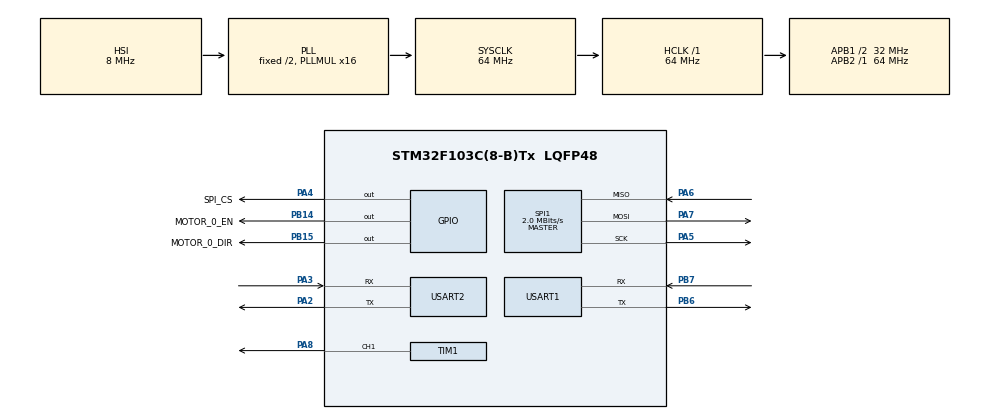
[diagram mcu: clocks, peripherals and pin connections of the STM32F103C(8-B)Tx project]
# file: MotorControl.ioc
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Mcu.Family=STM32F1
Mcu.Name=STM32F103C(8-B)Tx
Mcu.Package=LQFP48
NVIC.PriorityGroup=NVIC_PRIORITYGROUP_4
NVIC.TIM2_IRQn=true\:0\:0\:false\:false\:true\:true\:true
NVIC.USART1_IRQn=true\:0\:0\:false\:false\:true\:true\:true
PA13.Mode=Serial_Wire
PA13.Signal=SYS_JTMS-SWDIO
PA14.Mode=Serial_Wire
PA14.Signal=SYS_JTCK-SWCLK
PA2.Mode=Asynchronous
PA2.Signal=USART2_TX
PA3.Mode=Asynchronous
PA3.Signal=USART2_RX
PA4.GPIO_Label=SPI_CS
PA4.GPIO_Speed=GPIO_SPEED_FREQ_HIGH
PA4.PinState=GPIO_PIN_SET
PA4.Signal=GPIO_Output
PA5.Mode=Full_Duplex_Master
PA5.Signal=SPI1_SCK
PA6.Mode=Full_Duplex_Master
PA6.Signal=SPI1_MISO
PA7.Mode=Full_Duplex_Master
PA7.Signal=SPI1_MOSI
PA8.Signal=S_TIM1_CH1
PB14.GPIO_Label=MOTOR_0_EN
PB14.Signal=GPIO_Output
PB15.GPIO_Label=MOTOR_0_DIR
PB15.Signal=GPIO_Output
PB6.Mode=Asynchronous
PB6.Signal=USART1_TX
PB7.Mode=Asynchronous
PB7.Signal=USART1_RX
PC14-OSC32_IN.Mode=LSE-External-Oscillator
PC14-OSC32_IN.Signal=RCC_OSC32_IN
PC15-OSC32_OUT.Mode=LSE-External-Oscillator
PC15-OSC32_OUT.Signal=RCC_OSC32_OUT
PD0-OSC_IN.Mode=HSE-External-Oscillator
PD0-OSC_IN.Signal=RCC_OSC_IN
PD1-OSC_OUT.Mode=HSE-External-Oscillator
PD1-OSC_OUT.Signal=RCC_OSC_OUT
ProjectManager.HeapSize=0x200
ProjectManager.StackSize=0x400
ProjectManager.TargetToolchain=STM32CubeIDE
RCC.AHBFreq_Value=64000000
RCC.APB1CLKDivider=RCC_HCLK_DIV2
RCC.APB1Freq_Value=32000000
RCC.APB1TimFreq_Value=64000000
RCC.APB2Freq_Value=64000000
RCC.APB2TimFreq_Value=64000000
RCC.HCLKFreq_Value=64000000
RCC.PLLMUL=RCC_PLL_MUL16
RCC.SYSCLKFreq_VALUE=64000000
RCC.SYSCLKSource=RCC_SYSCLKSOURCE_PLLCLK
RCC.USBFreq_Value=64000000
SH.S_TIM1_CH1.0=TIM1_CH1,PWM Generation1 CH1
SPI1.BaudRatePrescaler=SPI_BAUDRATEPRESCALER_32
SPI1.CLKPhase=SPI_PHASE_2EDGE
SPI1.CalculateBaudRate=2.0 MBits/s
SPI1.DataSize=SPI_DATASIZE_16BIT
SPI1.Direction=SPI_DIRECTION_2LINES
SPI1.Mode=SPI_MODE_MASTER
SPI1.VirtualType=VM_MASTER
TIM1.Channel-PWM\ Generation1\ CH1=TIM_CHANNEL_1
TIM1.Prescaler=64
TIM2.Period=100
TIM2.Prescaler=64000
USART1.VirtualMode=VM_ASYNC
USART2.VirtualMode=VM_ASYNC
VP_TIM1_VS_ClockSourceINT.Mode=Internal
VP_TIM2_VS_ClockSourceINT.Mode=Internal
board=custom

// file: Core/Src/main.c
/* USER CODE BEGIN Header */
/**
  ******************************************************************************
  * @file           : main.c
  * @brief          : Main program body
  ******************************************************************************
  * @attention
  *
  * Copyright (c) 2022 STMicroelectronics.
  * All rights reserved.
  *
  * This software is licensed under terms that can be found in the LICENSE file
  * in the root directory of this software component.
  * If no LICENSE file comes with this software, it is provided AS-IS.
  *
  ******************************************************************************
  */
/* USER CODE END Header */
#include "main.h"
#include "spi.h"
#include "tim.h"
#include "usart.h"
#include "gpio.h"

/* USER CODE BEGIN Includes */
#include <stdbool.h>
#include <stdio.h>

#include "PwmDriver.h"
#include "GpioDriver.h"
#include "MotorDriver.h"
#include "MotorController.h"
#include "ComProtocol.h"
#include "As5048aDriver.h"
/* USER CODE END Includes */

/* USER CODE BEGIN PV */

PwmDriver pwmDriver;
GpioDriver gpioDriverEn;
GpioDriver gpioDriverDir;
GpioDriver gpioDriverSpiCs;

MotorDriver motorDriver;
As5048aDriver as5048aDriver;

MotorController motorController;

ComProtocolParser comProtocolParser;

// 中断 flag
bool motor_control_flag = false;
bool tx_send_flag = false;
bool interrupt_flag_10Hz = false;

uint8_t rx_buffer[1];
uint8_t spi_buffer[2];
/* USER CODE END PV */

void SystemClock_Config(void);
/* USER CODE BEGIN PFP */
void init_all(void);
/* USER CODE END PFP */

/* USER CODE BEGIN 0 */
void init_all(void) {
  PwmDriver_init(&pwmDriver, 64, &htim1, TIM_CHANNEL_1, 64, 65535);
  GpioDriver_init(&gpioDriverDir, MOTOR_0_DIR_GPIO_Port, MOTOR_0_DIR_Pin);
  GpioDriver_init(&gpioDriverEn, MOTOR_0_EN_GPIO_Port, MOTOR_0_EN_Pin);
  GpioDriver_init(&gpioDriverSpiCs, SPI_CS_GPIO_Port, SPI_CS_Pin);

  MotorDriver_init(&motorDriver, &pwmDriver, &gpioDriverEn, &gpioDriverDir);

  As5048aDriver_init(&as5048aDriver, &hspi1, gpioDriverSpiCs);

  MotorController_init(&motorController, &motorDriver, 10, 2);
}
/* USER CODE END 0 */

int main(void) {

  /* MCU Configuration--------------------------------------------------------*/

  /* Reset of all peripherals, Initializes the Flash interface and the Systick. */
  HAL_Init();

  /* Configure the system clock */
  SystemClock_Config();

  /* Initialize all configured peripherals */
  MX_GPIO_Init();
  MX_TIM1_Init();
  MX_USART1_UART_Init();
  MX_TIM2_Init();
  MX_SPI1_Init();
  MX_USART2_UART_Init();
  /* USER CODE BEGIN 2 */

  //开启usart1中断
  HAL_UART_Receive_IT(&huart1, rx_buffer, 1);

//  HAL_SPI_Receive_IT(&hspi1, spi_buffer, 1);
  //开启定时器2中断
  HAL_TIM_Base_Start_IT(&htim2);
  init_all();
  /* USER CODE END 2 */

  /* Infinite loop */
  /* USER CODE BEGIN WHILE */
#pragma clang diagnostic push
#pragma ide diagnostic ignored "EndlessLoop"
  while (1) {
    /* USER CODE END WHILE */

    /* USER CODE BEGIN 3 */

    // 通信Rx
    if (ComProtocolParser_have_receive(&comProtocolParser)) {
      ComProtocolParser_parse(&comProtocolParser);
      if (comProtocolParser.motor_cmd_ready_flag == true) {
        comProtocolParser.motor_cmd_ready_flag = false;
        MotorCmdMsg motor_cmd_msg = comProtocolParser.motor_cmd_msg;
        MotorCmd motor_cmd;
        motor_cmd.mode = motor_cmd_msg.mode;
        motor_cmd.value = (double) motor_cmd_msg.value / MOTOR_CMD_MSG_FLOAT_TO_INT;
        MotorController_set_cmd(&motorController, motor_cmd);
      }
    }

    if (interrupt_flag_10Hz) {
      interrupt_flag_10Hz = false;

      double pos = As5048aDriver_read_data(&as5048aDriver);
      MotorController_set_position(&motorController, pos);
    }

    // 周期发送
    if (tx_send_flag == true) {
      tx_send_flag = false;

      //printf("cur_pos:%lf \n", As5048aDriver_read_data(&as5048aDriver));
//      uint8_t buffer[MAX_PACKET_LENGTH + 7];
//      size_t it = 0;
//      protocol_dump(0, motorController.cur_motor_state, buffer, MAX_PACKET_LENGTH + 7, &it);
////      HAL_UART_Transmit_IT(&huart1, buffer, it);
//
//      printf("%lf \n", As5048aDriver_read_data(&as5048aDriver));
    }

    // 周期控制
    if (motor_control_flag == true) {
      motor_control_flag = false;
      MotorController_control(&motorController);
    }
  }
#pragma clang diagnostic pop
  /* USER CODE END 3 */
}

void SystemClock_Config(void) {
  RCC_OscInitTypeDef RCC_OscInitStruct = {0};
  RCC_ClkInitTypeDef RCC_ClkInitStruct = {0};

  /** Initializes the RCC Oscillators according to the specified parameters
  * in the RCC_OscInitTypeDef structure.
  */
  RCC_OscInitStruct.OscillatorType = RCC_OSCILLATORTYPE_HSI;
  RCC_OscInitStruct.HSIState = RCC_HSI_ON;
  RCC_OscInitStruct.HSICalibrationValue = RCC_HSICALIBRATION_DEFAULT;
  RCC_OscInitStruct.PLL.PLLState = RCC_PLL_ON;
  RCC_OscInitStruct.PLL.PLLSource = RCC_PLLSOURCE_HSI_DIV2;
  RCC_OscInitStruct.PLL.PLLMUL = RCC_PLL_MUL16;
  if (HAL_RCC_OscConfig(&RCC_OscInitStruct) != HAL_OK) {
    Error_Handler();
  }
  /** Initializes the CPU, AHB and APB buses clocks
  */
  RCC_ClkInitStruct.ClockType = RCC_CLOCKTYPE_HCLK | RCC_CLOCKTYPE_SYSCLK
      | RCC_CLOCKTYPE_PCLK1 | RCC_CLOCKTYPE_PCLK2;
  RCC_ClkInitStruct.SYSCLKSource = RCC_SYSCLKSOURCE_PLLCLK;
  RCC_ClkInitStruct.AHBCLKDivider = RCC_SYSCLK_DIV1;
  RCC_ClkInitStruct.APB1CLKDivider = RCC_HCLK_DIV2;
  RCC_ClkInitStruct.APB2CLKDivider = RCC_HCLK_DIV1;

  if (HAL_RCC_ClockConfig(&RCC_ClkInitStruct, FLASH_LATENCY_2) != HAL_OK) {
    Error_Handler();
  }
}

/* USER CODE BEGIN 4 */

/**
 * @brief timer中断回调
 * @param htim
 */
void HAL_TIM_PeriodElapsedCallback(TIM_HandleTypeDef *htim) {
  // 10Hz
  if (htim == (&htim2)) {
    interrupt_flag_10Hz = true;
    motor_control_flag = true;
    tx_send_flag = true;
  }
}

/**
 * @brief uart Rx中断回调
 * @param huart
 */
void HAL_UART_RxCpltCallback(UART_HandleTypeDef *huart) {
  if (huart->Instance == USART1) {
    ComProtocolParser_input(&comProtocolParser, rx_buffer[0]);
    HAL_UART_Receive_IT(&huart1, rx_buffer, 1);
  }
}

/* USER CODE END 4 */

void Error_Handler(void) {
  __disable_irq();
  while (1) {
  }
}
